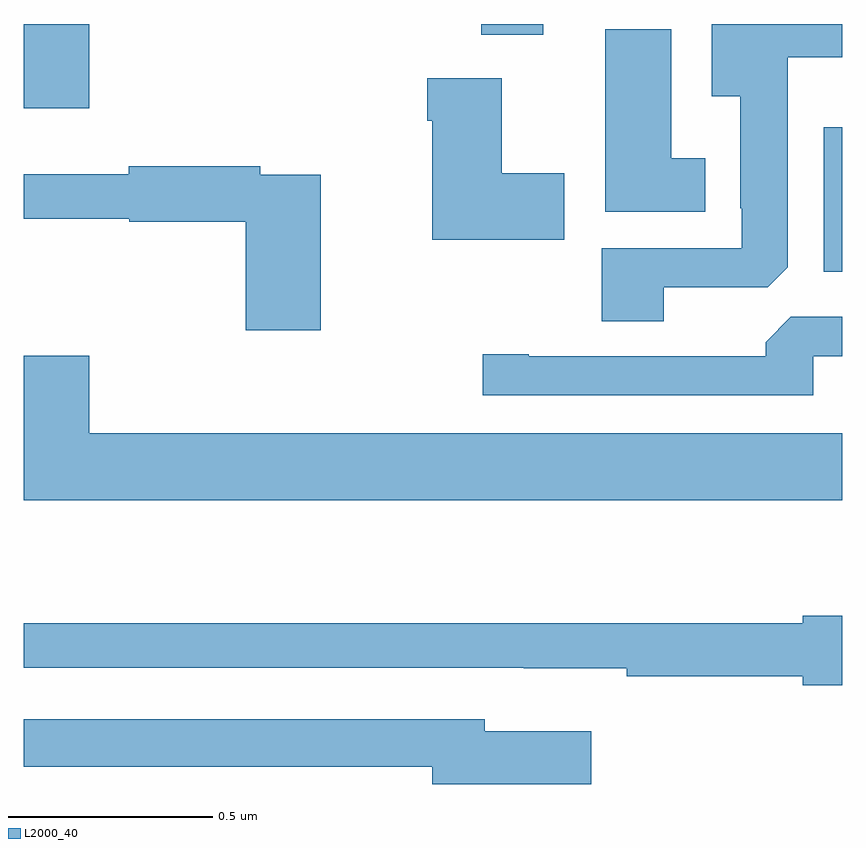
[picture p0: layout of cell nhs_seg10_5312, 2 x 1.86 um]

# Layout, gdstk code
import gdstk
lib = gdstk.Library(unit=1e-6, precision=1e-09)
def R(c, l, rs):  # rectangles x0, y0, x1, y1
    for r in rs: c.add(gdstk.rectangle(r[:2], r[2:], *l))
def P(c, l, *ps):  # polygons
    for p in ps: c.add(gdstk.Polygon(p, *l))
L2000_40 = (2000, 40)

nhs_seg10_5312 = lib.new_cell('nhs_seg10_5312')
R(nhs_seg10_5312, L2000_40, [(178.955,1280.894,179,1281.247), (177,1281.294,177.16,1281.5), (178.118,1281.474,178.27,1281.5)])
P(nhs_seg10_5312, L2000_40, [(178.564,1280.856),(178.818,1280.856),(178.867,1280.905),(178.867,1281.419),(179,1281.419),(179,1281.5),(178.682,1281.5),(178.682,1281.323),(178.751,1281.323),(178.751,1281.049),(178.755,1281.049),(178.755,1280.952),(178.412,1280.952),(178.412,1280.773),(178.564,1280.773)],
  [(178.666,1281.172),(178.582,1281.172),(178.582,1281.487),(178.421,1281.487),(178.421,1281.041),(178.666,1281.041)],
  [(178.321,1281.135),(178.168,1281.135),(178.168,1281.367),(177.986,1281.367),(177.986,1281.263),(177.998,1281.263),(177.998,1280.972),(178.321,1280.972)],
  [(177.725,1281.132),(177.578,1281.132),(177.578,1281.152),(177.256,1281.152),(177.256,1281.133),(177,1281.133),(177,1281.024),(177.258,1281.024),(177.258,1281.016),(177.542,1281.016),(177.542,1280.751),(177.725,1280.751)],
  [(178.929,1280.688),(179,1280.688),(179,1280.784),(178.875,1280.784),(178.814,1280.722),(178.814,1280.688),(178.234,1280.688),(178.234,1280.693),(178.122,1280.693),(178.122,1280.592),(178.929,1280.592)],
  [(179,1280.5),(177.16,1280.5),(177.16,1280.689),(177,1280.689),(177,1280.336),(179,1280.336)],
  [(179,1280.053),(178.904,1280.053),(178.904,1280.035),(177,1280.035),(177,1279.926),(178.222,1279.926),(178.222,1279.925),(178.474,1279.925),(178.474,1279.906),(178.904,1279.906),(178.904,1279.883),(179,1279.883)],
  [(178.387,1279.771),(178.126,1279.771),(178.126,1279.8),(177,1279.8),(177,1279.684),(177.998,1279.684),(177.998,1279.642),(178.387,1279.642)])

lib.write_gds('nhs_seg10_5312.gds')
